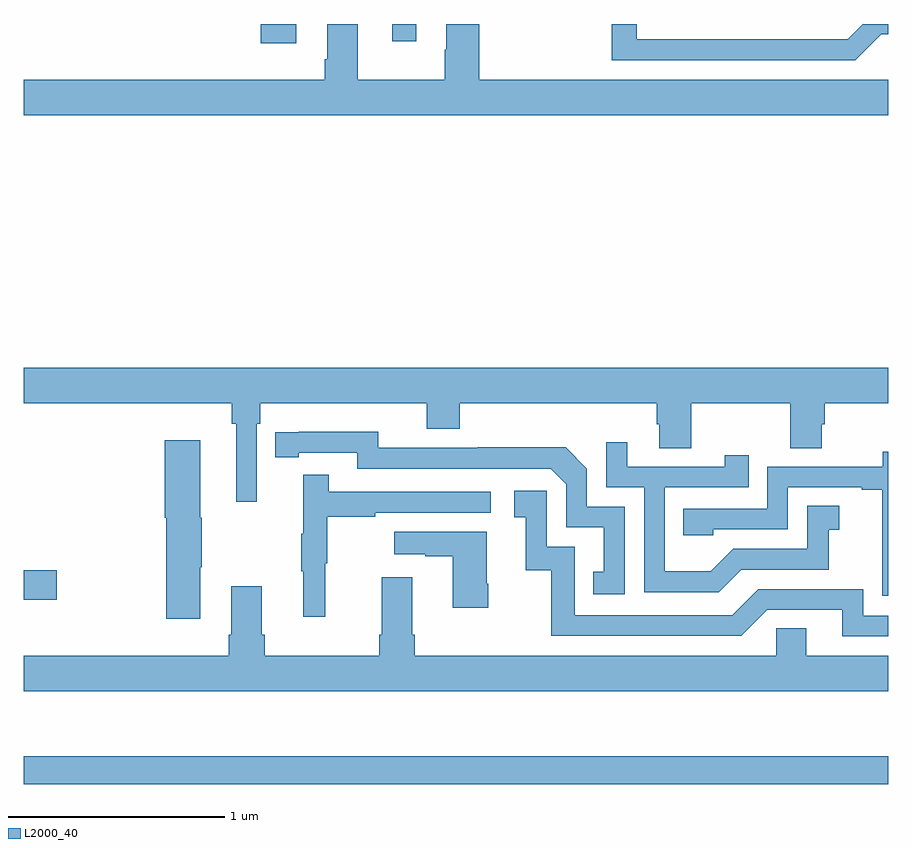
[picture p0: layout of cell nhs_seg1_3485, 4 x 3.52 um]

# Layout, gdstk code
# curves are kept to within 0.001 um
import gdstk
lib = gdstk.Library(unit=1e-6, precision=1e-09)
def R(c, l, rs):  # rectangles x0, y0, x1, y1
    for r in rs: c.add(gdstk.rectangle(r[:2], r[2:], *l))
def P(c, l, *ps):  # polygons
    for p in ps: c.add(gdstk.Polygon(p, *l))
L2000_40 = (2000, 40)

nhs_seg1_3485 = lib.new_cell('nhs_seg1_3485')
R(nhs_seg1_3485, L2000_40, [(301,504.682,305,504.811), (301,505.535,301.153,505.67), (302.096,508.11,302.26,508.199), (302.705,508.119,302.815,508.199)])
P(nhs_seg1_3485, L2000_40, [(304.968,508.152),(305,508.152),(305,508.199),(304.883,508.199),(304.812,508.128),(303.837,508.128),(303.837,508.199),(303.721,508.199),(303.721,508.032),(304.848,508.032)],
  [(305,507.94),(303.107,507.94),(303.107,508.199),(302.954,508.199),(302.954,508.079),(302.947,508.079),(302.947,507.94),(302.545,507.94),(302.545,508.199),(302.405,508.199),(302.405,508.036),(302.393,508.036),(302.393,507.94),(301,507.94),(301,507.776),(305,507.776)],
  [(302.079,506.348),(302.093,506.348),(302.093,506.444),(302.864,506.444),(302.864,506.327),(303.017,506.327),(303.017,506.444),(303.929,506.444),(303.929,506.346),(303.941,506.346),(303.941,506.236),(304.089,506.236),(304.089,506.444),(304.546,506.444),(304.546,506.236),(304.693,506.236),(304.693,506.346),(304.706,506.346),(304.706,506.444),(305,506.444),(305,506.608),(301,506.608),(301,506.444),(301.963,506.444),(301.963,506.348),(301.982,506.348),(301.982,505.989),(302.079,505.989)],
  [(303.78,505.965),(303.606,505.965),(303.606,506.142),(303.508,506.24),(303.1,506.24),(303.1,506.238),(302.64,506.238),(302.64,506.311),(302.164,506.31),(302.164,506.194),(302.272,506.194),(302.272,506.214),(302.544,506.214),(302.544,506.142),(303.438,506.142),(303.51,506.07),(303.51,505.869),(303.683,505.869),(303.683,505.665),(303.634,505.665),(303.634,505.56),(303.78,505.56)],
  [(301.816,505.684),(301.824,505.684),(301.824,505.914),(301.816,505.914),(301.816,506.272),(301.652,506.272),(301.652,505.914),(301.658,505.914),(301.658,505.446),(301.816,505.446)],
  [(304.321,505.674),(304.725,505.674),(304.725,505.859),(304.774,505.859),(304.774,505.969),(304.626,505.969),(304.626,505.77),(304.284,505.77),(304.18,505.666),(303.966,505.666),(303.966,506.055),(304.355,506.055),(304.355,506.203),(304.244,506.203),(304.244,506.151),(303.793,506.151),(303.793,506.263),(303.696,506.263),(303.696,506.055),(303.87,506.055),(303.87,505.569),(304.216,505.569)],
  [(305,506.22),(304.974,506.22),(304.974,506.151),(304.44,506.151),(304.44,505.956),(304.051,505.956),(304.051,505.833),(304.191,505.833),(304.191,505.86),(304.536,505.86),(304.536,506.055),(304.877,506.055),(304.877,506.043),(304.973,506.043),(304.973,505.759),(304.972,505.759),(304.972,505.553),(305,505.553)],
  [(302.396,505.704),(302.404,505.704),(302.404,505.918),(302.627,505.918),(302.627,505.938),(303.16,505.938),(303.16,506.034),(302.411,506.034),(302.411,506.113),(302.294,506.113),(302.294,505.841),(302.283,505.841),(302.283,505.667),(302.294,505.667),(302.294,505.455),(302.396,505.455)],
  [(305,505.461),(304.884,505.461),(304.884,505.584),(304.398,505.584),(304.278,505.464),(303.549,505.464),(303.549,505.779),(303.42,505.779),(303.42,506.038),(303.27,506.038),(303.27,505.917),(303.323,505.917),(303.323,505.671),(303.441,505.671),(303.441,505.368),(304.32,505.368),(304.44,505.488),(304.787,505.488),(304.787,505.365),(305,505.365)],
  [(303.15,505.609),(303.142,505.609),(303.142,505.849),(302.715,505.849),(302.715,505.745),(302.858,505.745),(302.858,505.735),(302.984,505.735),(302.984,505.497),(303.15,505.497)],
  [(305,505.276),(304.621,505.276),(304.621,505.403),(304.482,505.403),(304.482,505.276),(302.81,505.276),(302.81,505.372),(302.797,505.372),(302.797,505.639),(302.657,505.639),(302.657,505.372),(302.645,505.372),(302.645,505.276),(302.114,505.276),(302.114,505.372),(302.101,505.372),(302.101,505.597),(301.961,505.597),(301.961,505.372),(301.949,505.372),(301.949,505.276),(301,505.276),(301,505.112),(305,505.112)])

lib.write_gds('nhs_seg1_3485.gds')
